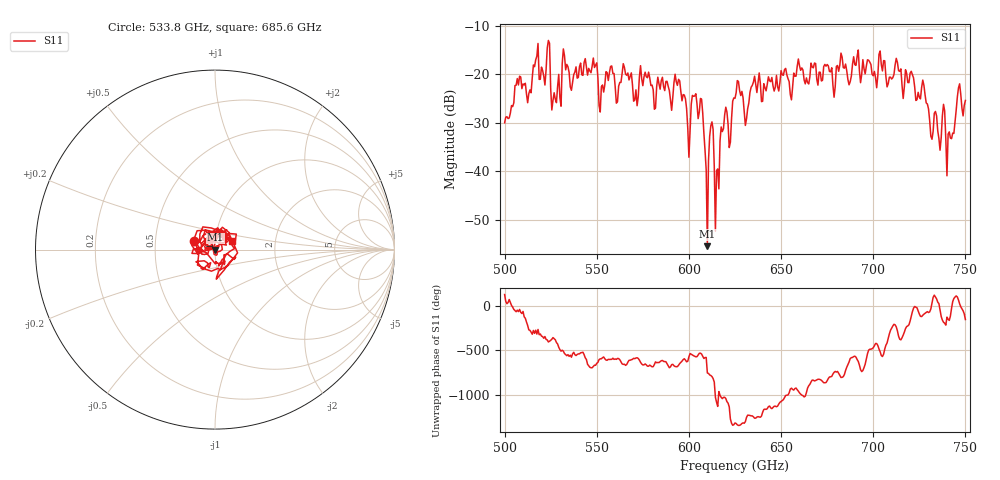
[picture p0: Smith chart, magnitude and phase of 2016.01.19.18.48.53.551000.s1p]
!Created with skrf (http://scikit-rf.org).
# GHz S RI R 50.0
!freq ReS11 ImS11
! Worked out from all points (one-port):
!   401 points, 500 GHz to 750 GHz, reference 50 ohm
!   lowest |S11| = -55.5 dB at 610 GHz (marker M1), VSWR 1.00, Z = 50.1 - j0.102 ohm
!   |S11| at or under -10 dB: start of sweep to end of sweep
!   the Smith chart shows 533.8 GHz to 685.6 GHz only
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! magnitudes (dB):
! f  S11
! 500 GHz  -30.0
! 507.5 GHz  -22.2
! 513.1 GHz  -24.0
! 516.9 GHz  -17.0
! 523.8 GHz  -13.0
! 526.9 GHz  -23.8
! 531.2 GHz  -17.9
! 562.5 GHz  -21.7
! 593.8 GHz  -22.3
! 599.4 GHz  -31.1
! 602.5 GHz  -24.6
! 606.9 GHz  -25.2
! 610 GHz  -55.5
! 612.5 GHz  -29.8
! 615 GHz  -39.9
! 618.8 GHz  -31.2
! 622.5 GHz  -34.0
! 625 GHz  -25.0
! 631.2 GHz  -29.2
! 635 GHz  -21.6
! 656.2 GHz  -22.7
! 660 GHz  -18.3
! 687.5 GHz  -21.6
! 690.6 GHz  -18.2
! 718.8 GHz  -21.7
! 740.6 GHz  -32.3
! 746.2 GHz  -22.8
! 750 GHz  -25.4
